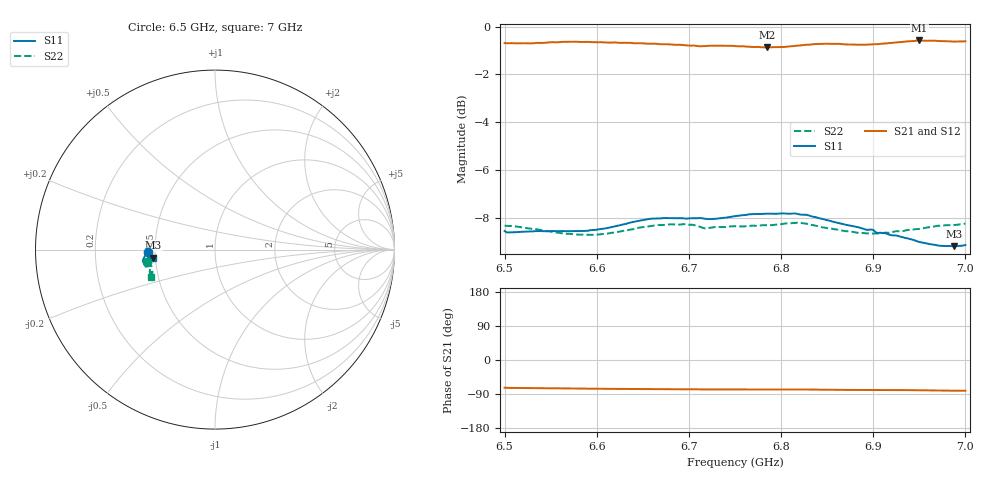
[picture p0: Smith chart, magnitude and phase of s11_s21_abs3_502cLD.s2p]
! MS46122B
! 1919307/90821646
! 7/29/2022 2:24:56 PM
! C:\USERS\PC_\DESKTOP\MEDICIONES\BANCHA ESTRECHA\65_7GHZ\S11_S21_ABS3_502CL.S2P
! CHANNEL.1
! TR.MEASUREMENT
! CORRECTED.DATA
# GHZ S RI R 50.0
! FREQ.GHZ  S11RE  S11IM  S21RE  S21IM  S12RE  S12IM  S22RE  S22IM
!; PortSelection: Port_12
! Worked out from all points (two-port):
!   201 points, 6.5 GHz to 7 GHz, reference 50 ohm
!   highest |S21| = -0.57 dB at 6.95 GHz (marker M1); lowest = -0.9 dB at 6.785 GHz (marker M2)
!   |S21| within 3 dB of the highest: start of sweep to end of sweep
!   lowest |S11| = -9.2 dB at 6.987 GHz (marker M3), VSWR 2.06, Z = 24.3 - j2.44 ohm
!   |S11| at or under -10 dB: nowhere
!   |S22| runs from -8.7 to -8.2 dB; largest |S21 - S12| = 0.013
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6.5  -0.373 -0.0135  0.267 -0.8848  0.2691 -0.8797  -0.3771 -0.0671
6.5025  -0.3701 -0.0207  0.2618 -0.8862  0.2687 -0.8799  -0.3765 -0.069
6.5075  -0.37 -0.0242  0.2602 -0.887  0.2681 -0.8799  -0.3758 -0.071
6.53  -0.3707 -0.0357  0.2552 -0.8871  0.265 -0.8813  -0.368 -0.0824
6.5475  -0.3702 -0.0447  0.2511 -0.8925  0.2615 -0.8859  -0.3622 -0.0889
6.585  -0.3679 -0.064  0.2344 -0.8994  0.2452 -0.8963  -0.3552 -0.0911
6.6225  -0.3736 -0.0835  0.2189 -0.8997  0.2276 -0.8978  -0.3588 -0.0964
6.6675  -0.385 -0.0954  0.2047 -0.8967  0.2136 -0.897  -0.3625 -0.1269
6.6975  -0.3866 -0.087  0.1987 -0.8923  0.2052 -0.8941  -0.3616 -0.1341
6.7175  -0.3893 -0.0738  0.1971 -0.8893  0.203 -0.8903  -0.3566 -0.1256
6.75  -0.396 -0.0636  0.1897 -0.8913  0.1953 -0.8916  -0.3642 -0.115
6.7625  -0.3986 -0.0629  0.1878 -0.8895  0.1924 -0.8895  -0.3648 -0.1148
6.785  -0.4004 -0.0662  0.1887 -0.8854  0.1923 -0.8855  -0.3625 -0.126
6.8075  -0.4003 -0.0666  0.1929 -0.8884  0.1954 -0.8879  -0.3611 -0.1409
6.835  -0.3968 -0.0494  0.1916 -0.8994  0.1931 -0.8989  -0.358 -0.1385
6.855  -0.3896 -0.0344  0.1817 -0.9027  0.1836 -0.9021  -0.3548 -0.1287
6.8725  -0.3829 -0.0284  0.1756 -0.9013  0.1772 -0.9004  -0.3531 -0.1197
6.895  -0.3741 -0.0324  0.1755 -0.901  0.1747 -0.8972  -0.3502 -0.1161
6.9175  -0.3639 -0.0453  0.1755 -0.908  0.1753 -0.9013  -0.3485 -0.1238
6.95  -0.3504 -0.0506  0.1646 -0.9215  0.1686 -0.9122  -0.3497 -0.1424
6.9875  -0.3441 -0.0441  0.1475 -0.9194  0.1523 -0.916  -0.3538 -0.1496
7  -0.3459 -0.0455  0.1451 -0.921  0.1482 -0.9157  -0.3559 -0.152
